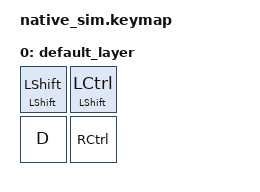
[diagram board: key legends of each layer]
#include <dt-bindings/zmk/keys.h>
#include <behaviors.dtsi>
#include <dt-bindings/zmk/input_mock.h>

/ {
    behaviors {
        ht_bal: behavior_hold_tap_balanced {
            compatible = "zmk,behavior-hold-tap";
            #binding-cells = <2>;
            flavor = "balanced";
            tapping-term-ms = <100>;
            quick-tap-ms = <200>;
            bindings = <&kp>, <&sk>;
            hold-while-undecided;
            hold-while-undecided-linger;
        };
    };

    keymap {
        compatible = "zmk,keymap";

        default_layer {
            bindings = <
                &ht_bal LEFT_SHIFT LEFT_SHIFT &ht_bal LEFT_SHIFT LEFT_CONTROL
                &kp D &kp RIGHT_CONTROL>;
        };
    };
};

&mock_input {
    events = <
        ZMK_INPUT_MOCK_PRESS(0,0,10)
        ZMK_INPUT_MOCK_RELEASE(0,0,10)
    >;
};
